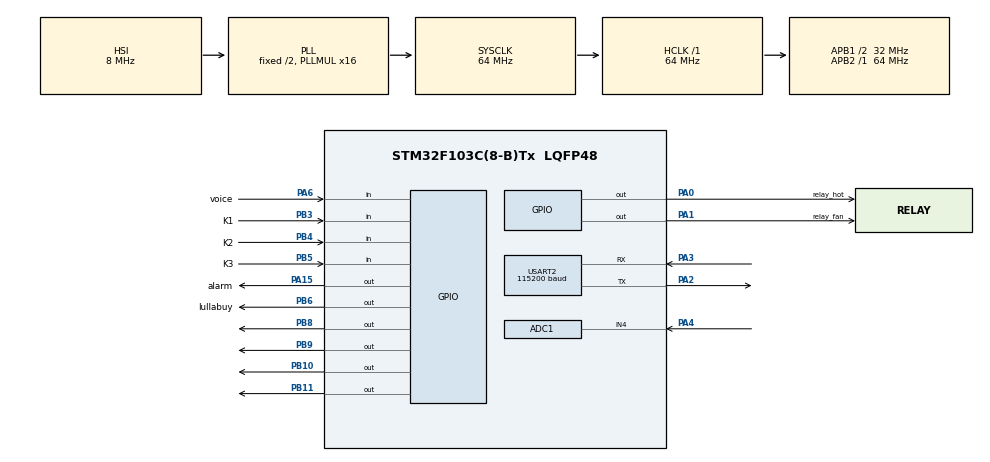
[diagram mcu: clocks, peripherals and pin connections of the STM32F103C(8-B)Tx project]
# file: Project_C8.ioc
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ADC1.Channel-0\#ChannelRegularConversion=ADC_CHANNEL_4
ADC1.NbrOfConversionFlag=1
ADC1.Rank-0\#ChannelRegularConversion=1
ADC1.SamplingTime-0\#ChannelRegularConversion=ADC_SAMPLETIME_239CYCLES_5
ADC1.master=1
Mcu.Family=STM32F1
Mcu.Name=STM32F103C(8-B)Tx
Mcu.Package=LQFP48
NVIC.PriorityGroup=NVIC_PRIORITYGROUP_4
NVIC.TIM1_UP_IRQn=true\:0\:0\:false\:false\:true\:true\:true\:true
NVIC.USART2_IRQn=true\:0\:0\:false\:false\:true\:true\:true\:true
PA0-WKUP.GPIO_Label=relay_hot
PA0-WKUP.GPIO_Speed=GPIO_SPEED_FREQ_HIGH
PA0-WKUP.Signal=GPIO_Output
PA1.GPIO_Label=relay_fan
PA1.GPIO_Speed=GPIO_SPEED_FREQ_HIGH
PA1.Signal=GPIO_Output
PA13.Mode=Serial_Wire
PA13.Signal=SYS_JTMS-SWDIO
PA14.Mode=Serial_Wire
PA14.Signal=SYS_JTCK-SWCLK
PA15.GPIO_Label=alarm
PA15.GPIO_ModeDefaultOutputPP=GPIO_MODE_OUTPUT_PP
PA15.GPIO_PuPd=GPIO_NOPULL
PA15.GPIO_Speed=GPIO_SPEED_FREQ_HIGH
PA15.PinState=GPIO_PIN_RESET
PA15.Signal=GPIO_Output
PA2.Mode=Asynchronous
PA2.Signal=USART2_TX
PA3.Mode=Asynchronous
PA3.Signal=USART2_RX
PA4.Signal=ADCx_IN4
PA6.GPIO_Label=voice
PA6.GPIO_PuPd=GPIO_PULLUP
PA6.Signal=GPIO_Input
PB10.GPIO_Speed=GPIO_SPEED_FREQ_HIGH
PB10.Signal=GPIO_Output
PB11.GPIO_Speed=GPIO_SPEED_FREQ_HIGH
PB11.Signal=GPIO_Output
PB3.GPIO_Label=K1
PB3.GPIO_Mode=GPIO_MODE_INPUT
PB3.GPIO_PuPd=GPIO_PULLUP
PB3.Signal=GPIO_Input
PB4.GPIO_Label=K2
PB4.GPIO_Mode=GPIO_MODE_INPUT
PB4.GPIO_PuPd=GPIO_PULLUP
PB4.Signal=GPIO_Input
PB5.GPIO_Label=K3
PB5.GPIO_Mode=GPIO_MODE_INPUT
PB5.GPIO_PuPd=GPIO_PULLUP
PB5.Signal=GPIO_Input
PB6.GPIO_Label=lullabuy
PB6.GPIO_Speed=GPIO_SPEED_FREQ_HIGH
PB6.PinState=GPIO_PIN_SET
PB6.Signal=GPIO_Output
PB8.GPIO_Speed=GPIO_SPEED_FREQ_HIGH
PB8.Signal=GPIO_Output
PB9.GPIO_Speed=GPIO_SPEED_FREQ_HIGH
PB9.Signal=GPIO_Output
ProjectManager.HeapSize=0x200
ProjectManager.StackSize=0x400
ProjectManager.TargetToolchain=MDK-ARM V5.27
RCC.ADCPresc=RCC_ADCPCLK2_DIV6
RCC.AHBFreq_Value=64000000
RCC.APB1CLKDivider=RCC_HCLK_DIV2
RCC.APB1Freq_Value=32000000
RCC.APB1TimFreq_Value=64000000
RCC.APB2Freq_Value=64000000
RCC.APB2TimFreq_Value=64000000
RCC.FLatency=FLASH_LATENCY_2
RCC.HCLKFreq_Value=64000000
RCC.PLLMUL=RCC_PLL_MUL16
RCC.SYSCLKFreq_VALUE=64000000
RCC.SYSCLKSource=RCC_SYSCLKSOURCE_PLLCLK
RCC.USBFreq_Value=64000000
SH.ADCx_IN4.0=ADC1_IN4,IN4
TIM1.AutoReloadPreload=TIM_AUTORELOAD_PRELOAD_DISABLE
TIM1.ClockDivision=TIM_CLOCKDIVISION_DIV1
TIM1.CounterMode=TIM_COUNTERMODE_UP
TIM1.Period=999
TIM1.Prescaler=63
TIM1.RepetitionCounter=0
TIM1.TIM_MasterOutputTrigger=TIM_TRGO_RESET
TIM1.TIM_MasterSlaveMode=TIM_MASTERSLAVEMODE_DISABLE
USART2.BaudRate=115200
USART2.Mode=MODE_TX_RX
USART2.Parity=PARITY_NONE
USART2.StopBits=STOPBITS_1
USART2.VirtualMode=VM_ASYNC
USART2.WordLength=WORDLENGTH_8B
VP_TIM1_VS_ClockSourceINT.Mode=Internal
board=custom

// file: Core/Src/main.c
/* USER CODE BEGIN Header */
/**
  ******************************************************************************
  * @file           : main.c
  * @brief          : Main program body
  ******************************************************************************
  * @attention
  *
  * Copyright (c) 2022 STMicroelectronics.
  * All rights reserved.
  *
  * This software is licensed under terms that can be found in the LICENSE file
  * in the root directory of this software component.
  * If no LICENSE file comes with this software, it is provided AS-IS.
  *
  ******************************************************************************
  */
/* USER CODE END Header */
#include "main.h"
#include "adc.h"
#include "tim.h"
#include "usart.h"
#include "gpio.h"

/* USER CODE BEGIN Includes */
#include "./HAL/key/key.h"
#include "./HAL/OLED/OLED_NEW.H"
#include "./HAL/delay/delay.h"
#include "./HAL/AliESP8266/AliESP8266.h"
#include "./HAL/ds18b20/ds18b20.h"

/* USER CODE END Includes */

/* USER CODE BEGIN PTD */
void Key_function(void);								//按键函数
void Monitor_function(void);						//监测函数
void Display_function(void);						//显示函数
/* USER CODE END PTD */

/* USER CODE BEGIN PD */

uint8_t USART2_TX_BUF[255];
#define u2_printf(...)  HAL_UART_Transmit(&huart2,USART2_TX_BUF,sprintf((char *)USART2_TX_BUF,__VA_ARGS__),0xffff)

/* USER CODE END PD */

/* USER CODE BEGIN PV */
uint8_t key_num,flag_display;        	  //按键与显示变量
uint16_t time_1ms,time_500ms;         	//计时变量1ms,500ms

uint8_t Motor_Status;									//步进电机状态变量
uint16_t Motor_Num;										//步进电机计数变量
uint16_t Motor_Time;									//步进电机计时变量
uint8_t const Motor_Buf[8] = {0x01, 0x03, 0x02, 0x06, 0x04, 0x0c, 0x08, 0x09};//步进电机步数数组
uint8_t flag_moto;										//标志位
uint16_t body_temp;										//体温
uint16_t adc_value,humi;				      //ADC值，湿度变量

uint8_t mode,hot_flag,fan_flag;
uint8_t crib_flag;                      //婴儿床标志位
uint8_t beep_temp,beep_humi;

uint16_t time_1,flag_1,time_2,flag_2;         			//计时变量

/* USER CODE END PV */

void SystemClock_Config(void);

/* USER CODE BEGIN 0 */

/****
*******按键设置函数
*****/
void Key_function(void)
{
	key_num = Chiclet_Keyboard_Scan();		//按键扫描
	if(key_num != 0)			                //有按键按下
	{
		switch(key_num)
		{
			case 1:													//按键1，切换模式
        mode == 0 ? mode = 1 : (mode = 0);
			break;

			case 2:													//按键2,手动控制是否加热
        mode = 1;
        hot_flag == 0 ? hot_flag = 1 : (hot_flag = 0);
			break;

			case 3:													//按键3,手动控制是否打开风扇
        mode = 1;
        fan_flag == 0 ? fan_flag = 1 : (fan_flag = 0);
			break;
		}
	}
}

/****
*******监测函数
*****/
void Monitor_function(void)
{
  uint16_t temp_init;
	if(time_500ms == 1)
	{
		time_500ms = 0;
    if(body_temp < 1000)
      temp_init = body_temp;
		body_temp=Ds18b20_Read_Temp();
    if(body_temp > 1000)
      body_temp = temp_init;

    //单通道数据获取
    HAL_ADC_Start(&hadc1);
		if(HAL_ADC_PollForConversion(&hadc1, 999) == HAL_OK)
			adc_value = HAL_ADC_GetValue(&hadc1);
		HAL_ADC_Stop(&hadc1);
		humi = (adc_value/4095.00)*100;			//获取值
	}

	if(flag_1 == 1)											//给阿里云发送数据
	{
		flag_1 = 0;
    Ali_MQTT_Publish_1();
	}
	if(flag_2 == 1)											//给阿里云发送数据
	{
		flag_2 = 0;
    Ali_MQTT_Publish_2();
	}

  if(voice == 0 || (crib_flag == 1 && mode == 1)) //检测到哭声，或手动控制婴儿床的标志位为1，婴儿床自动摇篮
  {
    if((Motor_Status & 0x01) == 0x00)
    {
      if(flag_moto==0)
      {
        flag_moto=1;
        if((Motor_Status & 0x01) == 0x00 )
        {
          Motor_Status |= 0x81;
        }
      }
    }
  }

  if(mode == 0) {  // 自动模式
    if(voice == 0) {  // 检测到哭声 - 播放音乐
      lullabuy(0);
    } else {
      lullabuy(1);
    }
  } else {  // 手动模式 - App控制
    // music_app_override由App通过MQTT控制
  }

  if(humi > 20 )                        //湿度大于20，说明尿床
    beep_humi = 1;
  else
    beep_humi = 0;

  if(mode == 0)                         //自动模式时
  {
    if(body_temp < 35*10)               //体温小于35，进行加热
    {
      hot_flag = 1;
      fan_flag = 0;
      beep_temp = 0;
    }
    else                                //体温大于等于35
    {
      hot_flag = 0;
      if(body_temp > 37*10 && body_temp <= 38*10) //体温在37-38之间，风扇打开
      {
        fan_flag = 1;
        beep_temp = 0;
      }
      if(body_temp > 38*10)             //体温大于38，风扇关闭，进行声光报警
      {
        fan_flag = 0;
        beep_temp = 1;
      }
    }
  }
  else
  {
    beep_temp = 0;
  }

  if(beep_humi == 1 || beep_temp == 1)
    alarm(1);
  else
    alarm(0);

  relay_fan(fan_flag);
  relay_hot(hot_flag);

}

/****
*******显示函数
*****/
void Display_function(void)						//显示体温、模式、是否尿床、是否听到哭声
{
	Oled_ShowCHinese(0,0,(uint8_t *)"模式");
	Oled_ShowString(32,0,(uint8_t *)":");
	if(mode == 0)
		Oled_ShowCHinese(40,0,(uint8_t *)"自动");
	else
		Oled_ShowCHinese(40,0,(uint8_t *)"手动");

	Oled_ShowCHinese(0,2,(uint8_t *)"体温");
	Oled_ShowString(32,2,(uint8_t *)":");
	OLED_Show_Temp(40,2,body_temp);

	Oled_ShowCHinese(0,4,(uint8_t *)"是否尿床");
	Oled_ShowString(64,4,(uint8_t *)":");
	if(beep_humi == 1)
		Oled_ShowCHinese(72,4,(uint8_t *)"是");
	else
		Oled_ShowCHinese(72,4,(uint8_t *)"否");
	OLED_ShowNum(96,4,humi,3);

	Oled_ShowCHinese(0,6,(uint8_t *)"是否听到哭声");
	Oled_ShowString(96,6,(uint8_t *)":");
	if(voice == 0)
		Oled_ShowCHinese(104,6,(uint8_t *)"是");
	else
		Oled_ShowCHinese(104,6,(uint8_t *)"否");

}

/* USER CODE END 0 */

int main(void)
{

  /* MCU Configuration--------------------------------------------------------*/

  /* Reset of all peripherals, Initializes the Flash interface and the Systick. */
  HAL_Init();

  /* Configure the system clock */
  SystemClock_Config();

  /* Initialize all configured peripherals */
  MX_GPIO_Init();
  MX_TIM1_Init();
  MX_USART2_UART_Init();
  MX_ADC1_Init();
  /* USER CODE BEGIN 2 */
  HAL_TIM_Base_Start_IT(&htim1);
  HAL_UART_Receive_IT(&Huart_wifi, &uartwifi_value, 1);

  /* USER CODE END 2 */

  /* Infinite loop */
  /* USER CODE BEGIN WHILE */
  Ds18b20_GPIO_Init();						    	//DS18B20初始化函数
                                        //wifi联网
  OLED_Init();													//初始化
  OLED_Clear();													//清屏
  ESP8266_init();
  while (1)
  {
    Key_function();											//按键函数
		Monitor_function();									//监测函数
		Display_function();									//显示函数
    Ali_MQTT_Recevie();                 //接收数据
    Ali_MQTT_Trigger_CryEvent();        //检测哭声并触发SOC导出视频
    /* USER CODE END WHILE */

  }
}

void SystemClock_Config(void)
{
  RCC_OscInitTypeDef RCC_OscInitStruct = {0};
  RCC_ClkInitTypeDef RCC_ClkInitStruct = {0};
  RCC_PeriphCLKInitTypeDef PeriphClkInit = {0};

  /** Initializes the RCC Oscillators according to the specified parameters
  * in the RCC_OscInitTypeDef structure.
  */
  RCC_OscInitStruct.OscillatorType = RCC_OSCILLATORTYPE_HSI;
  RCC_OscInitStruct.HSIState = RCC_HSI_ON;
  RCC_OscInitStruct.HSICalibrationValue = RCC_HSICALIBRATION_DEFAULT;
  RCC_OscInitStruct.PLL.PLLState = RCC_PLL_ON;
  RCC_OscInitStruct.PLL.PLLSource = RCC_PLLSOURCE_HSI_DIV2;
  RCC_OscInitStruct.PLL.PLLMUL = RCC_PLL_MUL16;
  if (HAL_RCC_OscConfig(&RCC_OscInitStruct) != HAL_OK)
  {
    Error_Handler();
  }

  /** Initializes the CPU, AHB and APB buses clocks
  */
  RCC_ClkInitStruct.ClockType = RCC_CLOCKTYPE_HCLK|RCC_CLOCKTYPE_SYSCLK
                              |RCC_CLOCKTYPE_PCLK1|RCC_CLOCKTYPE_PCLK2;
  RCC_ClkInitStruct.SYSCLKSource = RCC_SYSCLKSOURCE_PLLCLK;
  RCC_ClkInitStruct.AHBCLKDivider = RCC_SYSCLK_DIV1;
  RCC_ClkInitStruct.APB1CLKDivider = RCC_HCLK_DIV2;
  RCC_ClkInitStruct.APB2CLKDivider = RCC_HCLK_DIV1;

  if (HAL_RCC_ClockConfig(&RCC_ClkInitStruct, FLASH_LATENCY_2) != HAL_OK)
  {
    Error_Handler();
  }
  PeriphClkInit.PeriphClockSelection = RCC_PERIPHCLK_ADC;
  PeriphClkInit.AdcClockSelection = RCC_ADCPCLK2_DIV6;
  if (HAL_RCCEx_PeriphCLKConfig(&PeriphClkInit) != HAL_OK)
  {
    Error_Handler();
  }
}

/* USER CODE BEGIN 4 */

void HAL_TIM_PeriodElapsedCallback(TIM_HandleTypeDef *htim)
{
	if(htim->Instance == htim1.Instance)		//定时器1触发中断
	{
		time_1ms++;
		if(time_1ms>= 500)
		{
			time_1ms= 0;
			time_500ms = 1;
		}

		time_1++;
		if(time_1>= 1000)
		{
			time_1= 0;
			flag_1 = 1;											//1s标志位
		}
		time_2++;
		if(time_2>= 1400)
		{
			time_2= 0;
			flag_2 = 1;											//1.4s标志位
		}

    //1ms定时器中
    if(Motor_Status & 0x80)						//步进电机转动
		{
			if(Motor_Status & 0x01)
				Motor_Num++;
      else
				Motor_Num--;
			if(Motor_Num >= 256*8)
			{
				Motor_Status &= ~0x80;
        flag_moto=0;
			}
			GPIOB->ODR &= 0xf0ff;           //引脚状态
			GPIOB->ODR |= Motor_Buf[Motor_Num%8] << 8;
		}
    if(Motor_Status & 0x01)//延时
		{
			Motor_Time++;
			if(Motor_Time >= 1500)
			{
				Motor_Time = 0;
        Motor_Status &= ~0x01;
				Motor_Status |= 0x80;

			}
		}

	}
}

void HAL_UART_RxCpltCallback(UART_HandleTypeDef *huart)
{
  if(huart->Instance == Huart_wifi.Instance)
  {
    HAL_UART_Receive_IT(&Huart_wifi, &uartwifi_value, 1);
    if(ESP8266_cnt >= sizeof(ESP8266_buf)) ESP8266_cnt = 0;
    ESP8266_buf[ESP8266_cnt++] = uartwifi_value;
  }
}
/* USER CODE END 4 */

void Error_Handler(void)
{
  __disable_irq();
  while (1)
  {
  }
}
